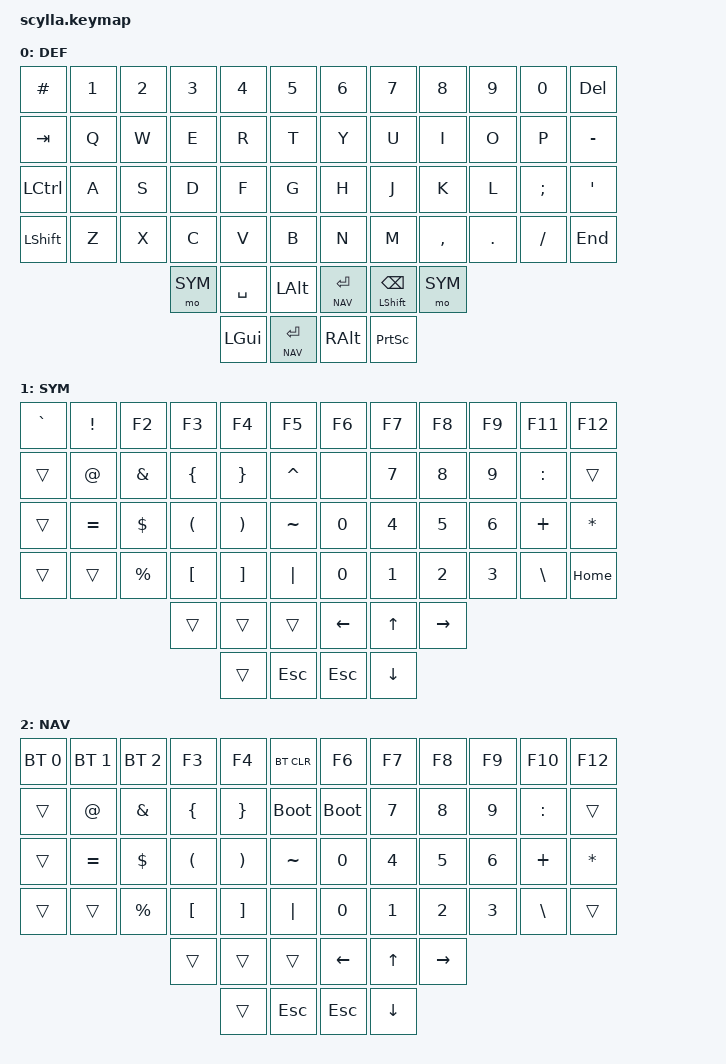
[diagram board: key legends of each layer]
#include <behaviors.dtsi>
#include <dt-bindings/zmk/bt.h>
#include <dt-bindings/zmk/keys.h>

#define DEF 0
#define SYM 1
#define NAV 2

/ {
    keymap {
        compatible = "zmk,keymap";

        DEF {
            bindings = <
&kp HASH    &kp N1  &kp N2  &kp N3   &kp N4     &kp N5           &kp N6         &kp N7          &kp N8     &kp N9   &kp N0         &kp DEL
&kp TAB     &kp Q   &kp W   &kp E    &kp R      &kp T            &kp Y          &kp U           &kp I      &kp O    &kp P          &kp MINUS
&kp LCTRL   &kp A   &kp S   &kp D    &kp F      &kp G            &kp H          &kp J           &kp K      &kp L    &kp SEMICOLON  &kp SQT
&kp LSHIFT  &kp Z   &kp X   &kp C    &kp V      &kp B            &kp N          &kp M           &kp COMMA  &kp DOT  &kp SLASH      &kp END
                            &mo SYM  &kp SPACE  &kp LALT         &lt NAV ENTER  &mt LSHFT BSPC  &mo SYM
                                     &kp LGUI   &lt NAV ENTER    &kp RALT       &kp PSCRN
            >;
        };

        SYM {
            bindings = <
&kp GRAVE  &kp EXCL   &kp F2     &kp F3    &kp F4    &kp F5       &kp F6    &kp F7    &kp F8     &kp F9  &kp F11    &kp F12
&trans     &kp AT     &kp AMPS   &kp LBRC  &kp RBRC  &kp CARET    &none     &kp N7    &kp N8     &kp N9  &kp COLON  &trans
&trans     &kp EQUAL  &kp DLLR   &kp LPAR  &kp RPAR  &kp TILDE    &kp N0    &kp N4    &kp N5     &kp N6  &kp PLUS   &kp STAR
&trans     &trans     &kp PRCNT  &kp LBKT  &kp RBKT  &kp PIPE     &kp N0    &kp N1    &kp N2     &kp N3  &kp BSLH   &kp HOME
                                 &trans    &trans    &trans       &kp LEFT  &kp UP    &kp RIGHT
                                           &trans    &kp ESC      &kp ESC   &kp DOWN
            >;
        };

        NAV {
            bindings = <
&bt BT_SEL 0  &bt BT_SEL 1  &bt BT_SEL 2  &kp F3    &kp F4    &bt BT_CLR     &kp F6       &kp F7    &kp F8     &kp F9  &kp F10    &kp F12
&trans        &kp AT        &kp AMPS      &kp LBRC  &kp RBRC  &bootloader    &bootloader  &kp N7    &kp N8     &kp N9  &kp COLON  &trans
&trans        &kp EQUAL     &kp DLLR      &kp LPAR  &kp RPAR  &kp TILDE      &kp N0       &kp N4    &kp N5     &kp N6  &kp PLUS   &kp STAR
&trans        &trans        &kp PRCNT     &kp LBKT  &kp RBKT  &kp PIPE       &kp N0       &kp N1    &kp N2     &kp N3  &kp BSLH   &trans
                                          &trans    &trans    &trans         &kp LEFT     &kp UP    &kp RIGHT
                                                    &trans    &kp ESC        &kp ESC      &kp DOWN
            >;
        };
    };
};
